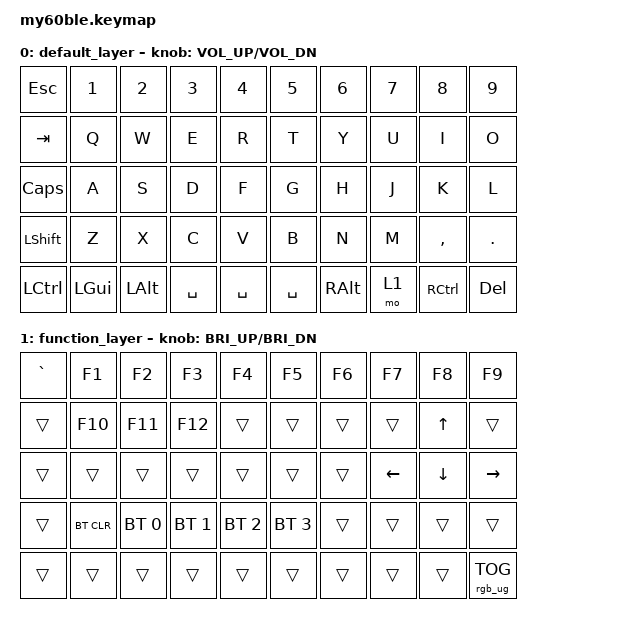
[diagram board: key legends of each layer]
/*
 * Copyright (c) 2020 The ZMK Contributors
 *
 * SPDX-License-Identifier: MIT
 */

#include <behaviors.dtsi>
#include <dt-bindings/zmk/keys.h>
#include <dt-bindings/zmk/bt.h>
#include <dt-bindings/zmk/rgb.h>
#include <dt-bindings/zmk/outputs.h>

/ {
    keymap {
        compatible = "zmk,keymap";

        default_layer {
            // -----------------------------------------------------------------------------------------
            // | ESC |  1  |  2  |  3  |  4  |  5  |  6  |  7  |  8  |  9  |
            // | TAB |  Q  |  W  |  E  |  R  |  T  |  Y  |  U  |  I  |  O  |
            // | CAPS|  A  |  S  |  D  |  F  |  G  |  H  |  J  |  K  |  L  |
            // | SHFT|  Z  |  X  |  C  |  V  |  B  |  N  |  M  |  ,  |  .  |
            // | CTRL| GUI | ALT |         SPACE         | ALT | FN  | CTRL| DEL |
            
            bindings = <
                &kp ESC    &kp N1    &kp N2    &kp N3    &kp N4    &kp N5    &kp N6    &kp N7    &kp N8    &kp N9
                &kp TAB    &kp Q     &kp W     &kp E     &kp R     &kp T     &kp Y     &kp U     &kp I     &kp O
                &kp CAPS   &kp A     &kp S     &kp D     &kp F     &kp G     &kp H     &kp J     &kp K     &kp L
                &kp LSHFT  &kp Z     &kp X     &kp C     &kp V     &kp B     &kp N     &kp M     &kp COMMA &kp DOT
                &kp LCTRL  &kp LGUI  &kp LALT  &kp SPACE &kp SPACE &kp SPACE &kp RALT  &mo 1     &kp RCTRL &kp DEL
            >;
            
            sensor-bindings = <&inc_dec_kp C_VOL_UP C_VOL_DN>;
        };

        function_layer {
            // -----------------------------------------------------------------------------------------
            // |  `  | F1  | F2  | F3  | F4  | F5  | F6  | F7  | F8  | F9  |
            // |     | F10 | F11 | F12 |     |     |     |     | UP  |     |
            // |     |     |     |     |     |     |     | LFT | DWN | RGT |
            // |     |BTCLR| BT1 | BT2 | BT3 | BT4 |     |     |     |     |
            // |     |     |     |                       |     |     |     | RGB |
            
            bindings = <
                &kp GRAVE  &kp F1       &kp F2       &kp F3       &kp F4       &kp F5    &kp F6    &kp F7    &kp F8    &kp F9
                &trans     &kp F10      &kp F11      &kp F12      &trans       &trans    &trans    &trans    &kp UP    &trans
                &trans     &trans       &trans       &trans       &trans       &trans    &trans    &kp LEFT  &kp DOWN  &kp RIGHT
                &trans     &bt BT_CLR   &bt BT_SEL 0 &bt BT_SEL 1 &bt BT_SEL 2 &bt BT_SEL 3 &trans &trans    &trans    &trans
                &trans     &trans       &trans       &trans       &trans       &trans    &trans    &trans    &trans    &rgb_ug RGB_TOG
            >;
            
            sensor-bindings = <&inc_dec_kp C_BRI_UP C_BRI_DN>;
        };
    };
};
